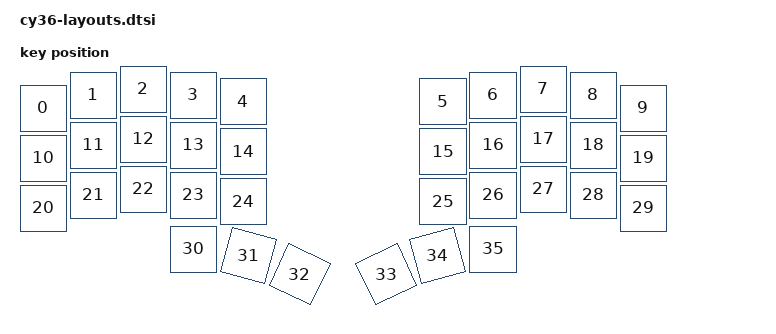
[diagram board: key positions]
// See https://zmk.dev/docs/development/hardware-integration/physical-layouts
// for how to configure this.

#include <physical_layouts.dtsi>

/ {
    default_layout: default_layout {
        compatible = "zmk,physical-layout";
        display-name = "Default Layout";
        transform = <&default_transform>;
        kscan = <&kscan>;

        // Edit this to define the positions and sizes of the keys, or remove it
        // if your keyboard will not support ZMK Studio.
        // https://zmk.dev/docs/development/hardware-integration/physical-layouts#optional-keys-property
        keys  //                     w   h    x    y     rot    rx    ry
            = <&key_physical_attrs 100 100    0   38       0     0     0>
            , <&key_physical_attrs 100 100  100   12       0     0     0>
            , <&key_physical_attrs 100 100  200    0       0     0     0>
            , <&key_physical_attrs 100 100  300   12       0     0     0>
            , <&key_physical_attrs 100 100  400   25       0     0     0>
            , <&key_physical_attrs 100 100  800   25       0     0     0>
            , <&key_physical_attrs 100 100  900   12       0     0     0>
            , <&key_physical_attrs 100 100 1000    0       0     0     0>
            , <&key_physical_attrs 100 100 1100   12       0     0     0>
            , <&key_physical_attrs 100 100 1200   38       0     0     0>
            , <&key_physical_attrs 100 100    0  138       0     0     0>
            , <&key_physical_attrs 100 100  100  112       0     0     0>
            , <&key_physical_attrs 100 100  200  100       0     0     0>
            , <&key_physical_attrs 100 100  300  112       0     0     0>
            , <&key_physical_attrs 100 100  400  125       0     0     0>
            , <&key_physical_attrs 100 100  800  125       0     0     0>
            , <&key_physical_attrs 100 100  900  112       0     0     0>
            , <&key_physical_attrs 100 100 1000  100       0     0     0>
            , <&key_physical_attrs 100 100 1100  112       0     0     0>
            , <&key_physical_attrs 100 100 1200  138       0     0     0>
            , <&key_physical_attrs 100 100    0  238       0     0     0>
            , <&key_physical_attrs 100 100  100  212       0     0     0>
            , <&key_physical_attrs 100 100  200  200       0     0     0>
            , <&key_physical_attrs 100 100  300  212       0     0     0>
            , <&key_physical_attrs 100 100  400  225       0     0     0>
            , <&key_physical_attrs 100 100  800  225       0     0     0>
            , <&key_physical_attrs 100 100  900  212       0     0     0>
            , <&key_physical_attrs 100 100 1000  200       0     0     0>
            , <&key_physical_attrs 100 100 1100  212       0     0     0>
            , <&key_physical_attrs 100 100 1200  238       0     0     0>
            , <&key_physical_attrs 100 100  300  320       0     0     0>
            , <&key_physical_attrs 100 100  248  312    1500   298   990>
            , <&key_physical_attrs 100 100  248  312    2500   298   990>
            , <&key_physical_attrs 100 100  952  312 (-2500)  1002   990>
            , <&key_physical_attrs 100 100  952  312 (-1500)  1002   990>
            , <&key_physical_attrs 100 100  900  320       0     0     0>
            ;
    };
};
